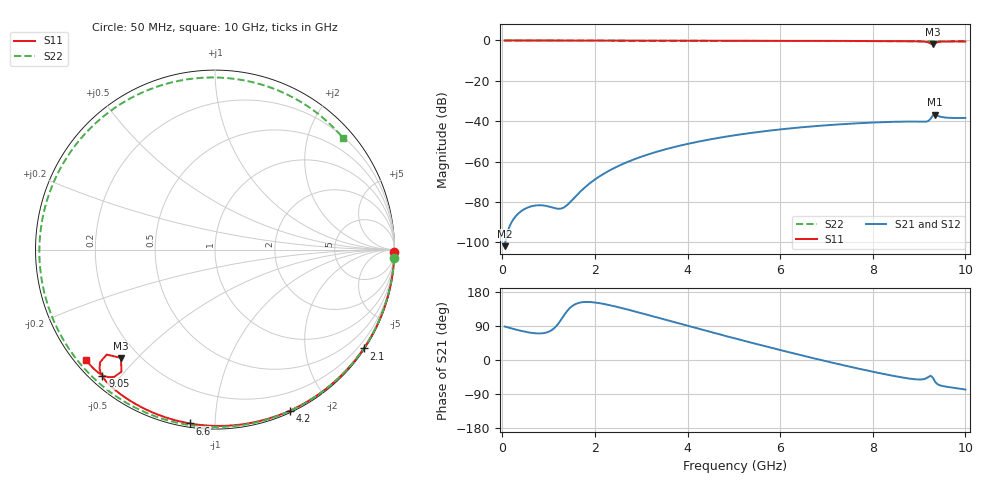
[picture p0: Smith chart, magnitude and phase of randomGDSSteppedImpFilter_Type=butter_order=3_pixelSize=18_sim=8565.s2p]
! freq	dB(S11)	phase(S11)	dB(S12)	phase(S12)
!  dB(S21)	phase(S21)	dB(S22)	phase(S22)
!S-par simulation data
#  GHz  S  DB  R 50
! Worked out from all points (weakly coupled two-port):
!   200 points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, 50 MHz to 10 GHz, reference 50 ohm
!   highest |S21| = -36.81 dB at 9.35 GHz (marker M1); lowest = -101.9 dB at 50 MHz (marker M2)
!   lowest |S11| = -1.9 dB at 9.3 GHz (marker M3), VSWR 8.97, Z = 6.71 - j22.5 ohm
!   |S11| at or under -10 dB: nowhere
!   |S22| runs from -0.5 to 0.0 dB; largest |S21 - S12| = 0
!   S11 on the Smith chart (normalised r, x): 50 MHz: open; 2.1 GHz: 0.03, -3.31; 4.2 GHz: 0.02, -1.56; 6.6 GHz: 0.02, -0.87; 9.05 GHz: 0.03, -0.45; 10 GHz: 0.03, -0.37
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0.05  -0.00 -0.8  -101.92 88.3  -101.92 88.3  -0.00 -2.7
0.4  -0.01 -6.5  -84.71 77.1  -84.71 77.1  -0.03 -21.0
0.8  -0.02 -13.0  -81.64 70.1  -81.64 70.1  -0.05 -41.3
1.15  -0.02 -18.6  -83.18 87.4  -83.18 87.4  -0.07 -58.1
1.45  -0.03 -23.4  -80.47 136.0  -80.47 136.0  -0.08 -71.7
1.75  -0.04 -28.1  -73.48 152.8  -73.48 152.8  -0.09 -84.5
2.1  -0.04 -33.6  -67.33 150.0  -67.33 150.0  -0.11 -98.5
2.65  -0.05 -42.1  -60.72 134.9  -60.72 134.9  -0.12 -118.4
3.4  -0.07 -53.4  -54.71 110.3  -54.71 110.3  -0.14 -142.3
4.2  -0.09 -65.2  -50.28 83.7  -50.28 83.7  -0.17 -165.0
5.05  -0.12 -77.3  -46.86 56.1  -46.86 56.1  -0.20 172.9
5.8  -0.15 -87.6  -44.59 32.5  -44.59 32.5  -0.23 154.2
6.6  -0.19 -98.2  -42.75 8.2  -42.75 8.2  -0.27 134.2
6.7  -0.19 -99.6  -42.55 5.3  -42.55 5.3  -0.28 131.7
7.55  -0.25 -110.6  -41.19 -18.9  -41.19 -18.9  -0.32 110.0
8.35  -0.32 -121.0  -40.37 -39.7  -40.37 -39.7  -0.37 88.6
9.05  -0.50 -131.6  -40.27 -51.3  -40.27 -51.3  -0.41 69.1
9.2  -0.95 -135.6  -39.91 -44.9  -39.91 -44.9  -0.42 64.8
9.3  -1.94 -131.0  -37.05 -47.2  -37.05 -47.2  -0.43 61.9
9.35  -1.34 -127.4  -36.81 -58.2  -36.81 -58.2  -0.43 60.4
9.55  -0.52 -132.4  -38.15 -69.7  -38.15 -69.7  -0.44 54.6
10  -0.48 -139.6  -38.39 -77.9  -38.39 -77.9  -0.48 41.3
